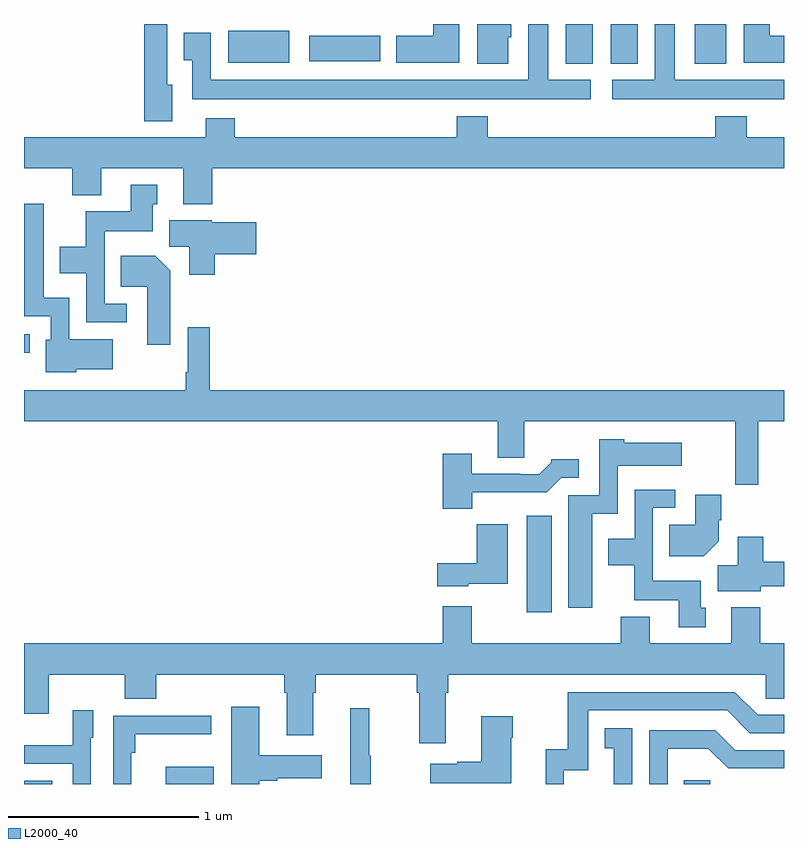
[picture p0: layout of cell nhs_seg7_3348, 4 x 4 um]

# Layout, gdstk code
import gdstk
lib = gdstk.Library(unit=1e-6, precision=1e-09)
def R(c, l, rs):  # rectangles x0, y0, x1, y1
    for r in rs: c.add(gdstk.rectangle(r[:2], r[2:], *l))
def P(c, l, *ps):  # polygons
    for p in ps: c.add(gdstk.Polygon(p, *l))
L2000_40 = (2000, 40)

nhs_seg7_3348 = lib.new_cell('nhs_seg7_3348')
R(nhs_seg7_3348, L2000_40, [(323,1040,323.149,1040.017), (323.747,1040,323.998,1040.092), (326.473,1040,326.613,1040.019), (325.646,1040.904,325.777,1041.412), (323,1042.271,323.029,1042.368), (325.85,1043.792,325.993,1044), (326.087,1043.792,326.23,1044), (326.531,1043.792,326.695,1044), (324.074,1043.795,324.397,1043.965), (324.501,1043.804,324.874,1043.938)])
P(nhs_seg7_3348, L2000_40, [(327,1043.938),(326.926,1043.938),(326.926,1044),(326.789,1044),(326.789,1043.795),(327,1043.795)],
  [(323.779,1043.679),(323.755,1043.679),(323.755,1044),(323.633,1044),(323.633,1043.489),(323.779,1043.489)],
  [(325.291,1044),(325.154,1044),(325.154,1043.938),(324.959,1043.938),(324.959,1043.795),(325.291,1043.795)],
  [(325.549,1043.931),(325.564,1043.931),(325.564,1044),(325.385,1044),(325.385,1043.792),(325.549,1043.792)],
  [(327,1043.707),(326.425,1043.707),(326.425,1044),(326.321,1044),(326.321,1043.707),(326.097,1043.707),(326.097,1043.603),(327,1043.603)],
  [(325.984,1043.707),(325.759,1043.707),(325.759,1044),(325.655,1044),(325.655,1043.707),(323.982,1043.707),(323.982,1043.953),(323.84,1043.953),(323.84,1043.809),(323.885,1043.809),(323.885,1043.603),(325.984,1043.603)],
  [(323.99,1043.24),(327,1043.24),(327,1043.404),(326.804,1043.404),(326.804,1043.515),(326.639,1043.515),(326.639,1043.404),(325.442,1043.404),(325.442,1043.515),(325.277,1043.515),(325.277,1043.404),(324.11,1043.404),(324.11,1043.503),(323.957,1043.503),(323.957,1043.404),(323,1043.404),(323,1043.24),(323.255,1043.24),(323.255,1043.099),(323.407,1043.099),(323.407,1043.24),(323.837,1043.24),(323.837,1043.051),(323.99,1043.051)],
  [(323.542,1042.527),(323.424,1042.527),(323.424,1042.91),(323.677,1042.91),(323.677,1043.052),(323.701,1043.052),(323.701,1043.155),(323.561,1043.155),(323.561,1043.014),(323.326,1043.014),(323.326,1042.828),(323.189,1042.828),(323.189,1042.688),(323.328,1042.688),(323.328,1042.431),(323.542,1042.431)],
  [(323.274,1042.184),(323.467,1042.184),(323.467,1042.342),(323.238,1042.342),(323.238,1042.558),(323.104,1042.558),(323.104,1043.053),(323,1043.053),(323,1042.461),(323.142,1042.461),(323.142,1042.338),(323.114,1042.338),(323.114,1042.166),(323.274,1042.166)],
  [(324.005,1042.787),(324.223,1042.787),(324.223,1042.957),(323.988,1042.957),(323.988,1042.966),(323.765,1042.966),(323.765,1042.828),(323.87,1042.828),(323.87,1042.68),(324.005,1042.68)],
  [(323.77,1042.702),(323.692,1042.78),(323.509,1042.78),(323.509,1042.616),(323.648,1042.616),(323.648,1042.311),(323.77,1042.311)],
  [(326.864,1041.908),(327,1041.908),(327,1042.072),(323.978,1042.072),(323.978,1042.405),(323.862,1042.405),(323.862,1042.168),(323.85,1042.168),(323.85,1042.072),(323,1042.072),(323,1041.908),(325.493,1041.908),(325.493,1041.718),(325.633,1041.718),(325.633,1041.908),(326.743,1041.908),(326.743,1041.576),(326.864,1041.576)],
  [(325.99,1041.422),(326.124,1041.422),(326.124,1041.674),(326.461,1041.674),(326.461,1041.796),(326.16,1041.796),(326.16,1041.814),(326.028,1041.814),(326.028,1041.519),(325.865,1041.519),(325.865,1040.928),(325.99,1040.928)],
  [(325.36,1041.536),(325.751,1041.536),(325.827,1041.612),(325.921,1041.612),(325.921,1041.709),(325.776,1041.709),(325.776,1041.694),(325.712,1041.63),(325.613,1041.63),(325.613,1041.633),(325.357,1041.633),(325.357,1041.739),(325.205,1041.739),(325.205,1041.449),(325.36,1041.449)],
  [(326.587,1040.928),(326.563,1040.928),(326.563,1041.07),(326.31,1041.07),(326.31,1041.453),(326.428,1041.453),(326.428,1041.549),(326.214,1041.549),(326.214,1041.292),(326.075,1041.292),(326.075,1041.152),(326.212,1041.152),(326.212,1040.966),(326.447,1040.966),(326.447,1040.826),(326.587,1040.826)],
  [(326.656,1041.278),(326.656,1041.388),(326.669,1041.388),(326.669,1041.523),(326.534,1041.523),(326.534,1041.364),(326.395,1041.364),(326.395,1041.2),(326.578,1041.2)],
  [(325.338,1041.053),(325.546,1041.053),(325.546,1041.367),(325.384,1041.367),(325.384,1041.163),(325.176,1041.163),(325.176,1041.041),(325.338,1041.041)],
  [(326.878,1041.042),(327,1041.042),(327,1041.17),(326.891,1041.17),(326.891,1041.301),(326.756,1041.301),(326.756,1041.152),(326.651,1041.152),(326.651,1041.014),(326.878,1041.014)],
  [(325.219,1040.48),(325.232,1040.48),(325.232,1040.576),(326.904,1040.576),(326.904,1040.449),(327,1040.449),(327,1040.74),(326.876,1040.74),(326.876,1040.929),(326.723,1040.929),(326.723,1040.74),(326.293,1040.74),(326.293,1040.881),(326.141,1040.881),(326.141,1040.74),(325.357,1040.74),(325.357,1040.935),(325.205,1040.935),(325.205,1040.74),(323,1040.74),(323,1040.37),(323.131,1040.37),(323.131,1040.576),(323.531,1040.576),(323.531,1040.448),(323.695,1040.448),(323.695,1040.576),(324.371,1040.576),(324.371,1040.48),(324.383,1040.48),(324.383,1040.256),(324.523,1040.256),(324.523,1040.48),(324.536,1040.48),(324.536,1040.576),(325.067,1040.576),(325.067,1040.48),(325.079,1040.48),(325.079,1040.214),(325.219,1040.214)],
  [(325.842,1040.073),(325.971,1040.073),(325.971,1040.388),(326.7,1040.388),(326.82,1040.268),(327,1040.268),(327,1040.364),(326.862,1040.364),(326.742,1040.484),(325.863,1040.484),(325.863,1040.182),(325.745,1040.182),(325.745,1040),(325.842,1040)],
  [(324.238,1040.018),(324.334,1040.018),(324.334,1040.03),(324.568,1040.03),(324.568,1040.152),(324.238,1040.152),(324.238,1040.407),(324.092,1040.407),(324.092,1040),(324.238,1040)],
  [(324.826,1040.148),(324.818,1040.148),(324.818,1040.398),(324.716,1040.398),(324.716,1040),(324.826,1040)],
  [(323.352,1040.244),(323.365,1040.244),(323.365,1040.389),(323.256,1040.389),(323.256,1040.203),(323,1040.203),(323,1040.106),(323.256,1040.106),(323.256,1040),(323.352,1040)],
  [(323.565,1040.165),(323.585,1040.165),(323.585,1040.261),(323.986,1040.261),(323.986,1040.358),(323.469,1040.358),(323.469,1040),(323.565,1040)],
  [(325.564,1040.243),(325.572,1040.243),(325.572,1040.356),(325.406,1040.356),(325.406,1040.117),(325.28,1040.117),(325.28,1040.107),(325.137,1040.107),(325.137,1040.003),(325.564,1040.003)],
  [(326.202,1040.293),(326.056,1040.293),(326.056,1040.187),(326.105,1040.187),(326.105,1040),(326.202,1040)],
  [(326.388,1040.186),(326.602,1040.186),(326.706,1040.082),(327,1040.082),(327,1040.178),(326.743,1040.178),(326.638,1040.283),(326.292,1040.283),(326.292,1040),(326.388,1040)])

lib.write_gds('nhs_seg7_3348.gds')
